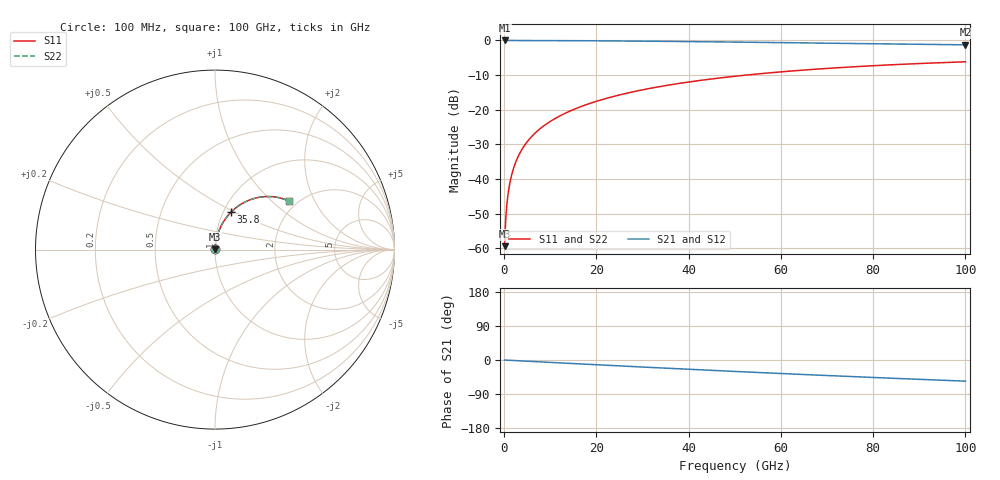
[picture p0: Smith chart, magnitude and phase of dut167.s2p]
! Touchstone file exported from HFSS 2026.1.0
!  File:  C:/ffzhzh/LocalFiles/Ansys_Project_Files/temp_train_RDL_167_1783500161_55944.aedt
!  Generated:  04:43:45 PM Jul  8, 2026
!  Design:  RDL
!  Project:  temp_train_RDL_167_1783500161_55944
! Variables:
!  h_bsmrdl = 2um
!  h_ox = 20um
!  h_rdl = 5um
!  h_sub = 80um
!  h_tmrdl = 4.36um
!  h_tsv = 80um
!  h_via = 3um
!  l_bsmrdl = 300um
!  l_sub = 544.28um
!  l_tmrdl = 144.28um
!  m_sub = 200um
!  pitch = 46.41um
!  r_tsv = 6um
!  s_tmrdl = 10um
!  w_bsmrdl = 18um
!  w_sub = 500um
!  w_tmrdl = 19.33um
!  x_tsv_center1 = 153.945um
!  x_tsv_center2 = 471.945um
!  x_tsv_center3 = 635.555um
!  x_tsv_center4 = 953.555um
!  x_tsv_center5 = 1117.165um
!  x_tsv_center6 = 1435.165um
# GHz S MA R 50.000000
! Terminal data exported
! Port[1] = TM_RDL1_1_T1
! Port[2] = TM_RDL1_1_T2
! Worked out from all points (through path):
!   1000 points, 100 MHz to 100 GHz, reference 50 ohm
!   highest |S21| = -0.01 dB at 100 MHz (marker M1); lowest = -1.3 dB at 100 GHz (marker M2)
!   group delay of S21, straight-line fit = 1.55 ps
!   lowest |S11| = -59.4 dB at 100 MHz (marker M3), VSWR 1.00, Z = 50.1 + j0.0752 ohm
!   |S11| at or under -10 dB: start of sweep to 52.43 GHz
!   |S22| runs from -59.4 to -6.2 dB; largest |S21 - S12| = 3.1e-15
!   S11 on the Smith chart (normalised r, x): 100 MHz: 1.00, +0.00; 35.8 GHz: 1.09, +0.48; 100 GHz: 1.80, +1.29
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0.1  0.001075 44.3  0.9992 -0.1  0.9992 -0.1  0.001075 44.3
! Gamma 0 0 0 0
! Port Impedance 50 0 50 0
0.4  0.003014 73.0  0.9991 -0.3  0.9991 -0.3  0.003014 73.0
0.7  0.005051 79.1  0.9991 -0.5  0.9991 -0.5  0.005051 79.1
0.8  0.005736 80.1  0.9991 -0.5  0.9991 -0.5  0.005736 80.1
1.1  0.007803 82.2  0.999 -0.7  0.999 -0.7  0.007803 82.2
1.4  0.009878 83.3  0.999 -0.9  0.999 -0.9  0.009878 83.3
1.9  0.01334 84.2  0.9988 -1.2  0.9988 -1.2  0.01334 84.2
2.4  0.0168 84.6  0.9987 -1.5  0.9987 -1.5  0.0168 84.6
3.1  0.02161 84.6  0.9985 -2.0  0.9985 -2.0  0.02161 84.6
3.9  0.02709 84.5  0.9982 -2.5  0.9982 -2.5  0.02709 84.5
4.9  0.03387 84.1  0.9978 -3.1  0.9978 -3.1  0.03387 84.1
6  0.04128 83.6  0.9973 -3.8  0.9973 -3.8  0.04128 83.6
8.8  0.05991 82.2  0.9959 -5.6  0.9959 -5.6  0.05991 82.2
12.4  0.08355 80.2  0.9936 -7.8  0.9936 -7.8  0.08355 80.2
16.8  0.112 77.7  0.9904 -10.6  0.9904 -10.6  0.112 77.7
24.2  0.1586 73.5  0.9833 -15.1  0.9833 -15.1  0.1586 73.5
33.4  0.2138 68.2  0.9722 -20.6  0.9722 -20.6  0.2138 68.2
35.8  0.2277 66.8  0.969 -22.0  0.969 -22.0  0.2277 66.8
50.1  0.3046 58.7  0.947 -30.2  0.947 -30.2  0.3046 58.8
66.7  0.3811 49.8  0.9186 -39.3  0.9186 -39.3  0.3811 49.9
83.4  0.4435 41.4  0.8901 -47.8  0.8901 -47.8  0.4435 41.4
100  0.4916 33.5  0.8644 -55.8  0.8644 -55.8  0.4916 33.5
